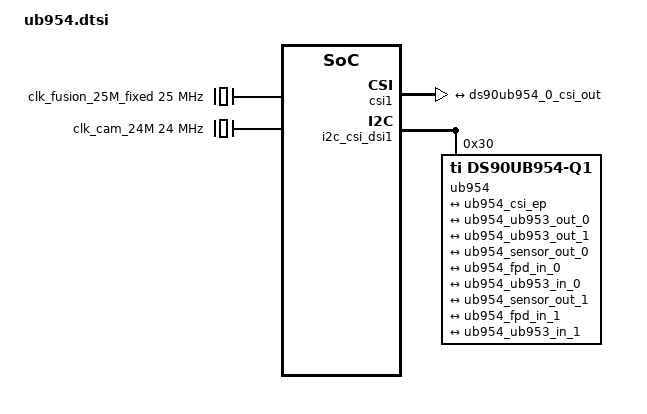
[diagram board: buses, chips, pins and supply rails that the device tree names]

/ {
	clk_fusion_25M_fixed: fixed-clock-fusion-25M {
		compatible = "fixed-clock";
		#clock-cells = <0>;
		clock-frequency = <25000000>;
	};
};

&csi1 {
	status = "okay";
	brcm,media-controller;

	ports {
		#address-cells = <1>;
		#size-cells = <0>;

		port {
			ub954_csi_ep: endpoint {
				remote-endpoint = <&ds90ub954_0_csi_out>;
				clock-lanes = <0>;
				data-lanes = <1 2 3 4>;
			};
		};
	};
};

&i2c_csi_dsi1 {
	#address-cells = <1>;
	#size-cells = <0>;

	status = "okay";
	//clock-frequency = <400000>;

	ub954: deser@30 {
		compatible = "ti,ds90ub954-q1";

		reg-names = "main";
		reg       = <0x30>;

		clock-names = "refclk";
		clocks = <&clk_fusion_25M_fixed>;

		i2c-alias-pool = <0x4a 0x4b 0x4c 0x4d 0x4e 0x4f>;

		ub954_ports: ports {
			#address-cells = <1>;
			#size-cells = <0>;

			/* CSI-2 */
			port@2 {
				reg = <2>;
				ds90ub954_0_csi_out: endpoint {
					clock-lanes = <0>;
					data-lanes = <1 2 3 4>;
					link-frequencies = /bits/ 64 <400000000>;
					remote-endpoint = <&ub954_csi_ep>;
				};
			};
		};

		ub954_links: links {
			#address-cells = <1>;
			#size-cells = <0>;
		};
	};
};

/ {
	clk_cam_24M: fixed-clock-cam-0-24M {
		compatible = "fixed-clock";
		#clock-cells = <0>;
		clock-frequency = <24000000>;
	};
};

&ub954_ports {
	#address-cells = <1>;
	#size-cells = <0>;

	/* FPDLink RX 0 */
	port@0 {
		reg = <0>;

		ub954_fpd_in_0: endpoint {
			remote-endpoint = <&ub954_ub953_out_0>;
		};
	};
};

&ub954_links {
	#address-cells = <1>;
	#size-cells = <0>;

	/* FPDLink RX 0 */
	link@0 {
		reg = <0>;
		i2c-alias = <68>;

		ti,rx-mode = <3>;

		ub954_ser_0: serializer {
			compatible = "ti,ds90ub953-q1";

			gpio-controller;
			#gpio-cells = <2>;

			#clock-cells = <0>;

			ports {
				#address-cells = <1>;
				#size-cells = <0>;

				port@0 {
					reg = <0>;
					ub954_ub953_in_0: endpoint {
						clock-lanes = <0>;
						data-lanes = <1 2>;
						remote-endpoint = <&ub954_sensor_out_0>;
						clock-noncontinuous;
					};
				};

				port@1 {
					reg = <1>;

					ub954_ub953_out_0: endpoint {
						remote-endpoint = <&ub954_fpd_in_0>;
					};
				};
			};

			i2c {
				#address-cells = <1>;
				#size-cells = <0>;

				imx219@10 {
					compatible = "sony,imx219";
					reg = <0x10>;

					clocks = <&clk_cam_24M>;
					clock-names = "xclk";

					VANA-supply = <&cam1_reg>;	/* 2.8v */
					VDIG-supply = <&cam_dummy_reg>;	/* 1.8v */
					VDDL-supply = <&cam_dummy_reg>;	/* 1.2v */

					rotation = <180>;
					orientation = <2>;

					port {
						ub954_sensor_out_0: endpoint {
							clock-lanes = <0>;
							data-lanes = <1 2>;
							clock-noncontinuous;
							link-frequencies =
								/bits/ 64 <456000000>;
							remote-endpoint = <&ub954_ub953_in_0>;
						};
					};
				};
			};
		};
	};
};

&ub954_ports {
	#address-cells = <1>;
	#size-cells = <0>;

	/* FPDLink RX 1 */
	port@1 {
		reg = <1>;

		ub954_fpd_in_1: endpoint {
			remote-endpoint = <&ub954_ub953_out_1>;
		};
	};
};

&ub954_links {
	#address-cells = <1>;
	#size-cells = <0>;

	/* FPDLink RX 1 */
	link@1 {
		reg = <1>;
		i2c-alias = <69>;

		ti,rx-mode = <3>;

		ub954_ser_1: serializer {
			compatible = "ti,ds90ub953-q1";

			gpio-controller;
			#gpio-cells = <2>;

			#clock-cells = <0>;

			ports {
				#address-cells = <1>;
				#size-cells = <0>;

				port@0 {
					reg = <0>;
					ub954_ub953_in_1: endpoint {
						clock-lanes = <0>;
						data-lanes = <1 2>;
						remote-endpoint = <&ub954_sensor_out_1>;
						clock-noncontinuous;
					};
				};

				port@1 {
					reg = <1>;

					ub954_ub953_out_1: endpoint {
						remote-endpoint = <&ub954_fpd_in_1>;
					};
				};
			};

			i2c {
				#address-cells = <1>;
				#size-cells = <0>;

				imx219@10 {
					compatible = "sony,imx219";
					reg = <0x10>;

					clocks = <&clk_cam_24M>;
					clock-names = "xclk";

					VANA-supply = <&cam1_reg>;	/* 2.8v */
					VDIG-supply = <&cam_dummy_reg>;	/* 1.8v */
					VDDL-supply = <&cam_dummy_reg>;	/* 1.2v */

					rotation = <180>;
					orientation = <2>;

					port {
						ub954_sensor_out_1: endpoint {
							clock-lanes = <0>;
							data-lanes = <1 2>;
							clock-noncontinuous;
							link-frequencies =
								/bits/ 64 <456000000>;
							remote-endpoint = <&ub954_ub953_in_1>;
						};
					};
				};
			};
		};
	};
};
